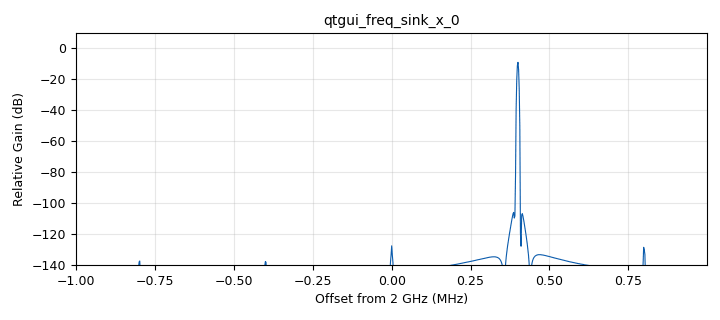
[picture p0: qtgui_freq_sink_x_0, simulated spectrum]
options:
  parameters:
    author: Susana
    generate_options: qt_gui
    id: transmite_tono
    output_language: python
    title: transmite_tono
  states: {}

blocks:
- name: RF_Gain
  id: variable_qtgui_range
  parameters:
    gui_hint: 1,0,1,1
    label: Ganancia RF (dB)
    orient: Qt.Horizontal
    start: '0'
    step: '5'
    stop: '90'
    value: '50'
  states: {state: disabled}
- name: atenuation
  id: variable_qtgui_range
  parameters:
    label: atenuation RF (dB)
    orient: Qt.Horizontal
    start: '0'
    step: '5'
    stop: '90'
    value: '0'
  states: {}
- name: nsamples
  id: variable
  parameters:
    value: '40000'
  states: {}
- name: samp_rate
  id: variable
  parameters:
    value: 2e6
  states: {}
- name: tx_freq
  id: variable_qtgui_range
  parameters:
    label: tx_freq
    orient: Qt.Horizontal
    start: 70e6
    step: 1e6
    stop: 6e9
    value: '2000000000'
  states: {}
- name: analog_sig_source_x_0
  id: analog_sig_source_x
  parameters:
    amp: '1'
    freq: 400e3
    offset: '0'
    phase: '0'
    samp_rate: samp_rate
    type: complex
    waveform: analog.GR_COS_WAVE
  states: {}
- name: blocks_complex_to_mag_squared_0_0
  id: blocks_complex_to_mag_squared
  parameters: {}
  states: {}
- name: blocks_head_0
  id: blocks_head
  parameters:
    num_items: '1024'
    type: complex
  states: {state: disabled}
- name: blocks_moving_average_xx_0_0
  id: blocks_moving_average_xx
  parameters:
    length: nsamples
    max_iter: '4000'
    scale: 1/nsamples
    type: float
  states: {}
- name: blocks_nlog10_ff_0
  id: blocks_nlog10_ff
  parameters:
    k: '0'
  states: {}
- name: blocks_nop_0
  id: blocks_nop
  parameters:
    type: complex
  states: {state: disabled}
- name: iio_pluto_sink_0
  id: iio_pluto_sink
  parameters:
    attenuation1: atenuation
    auto_filter: 'True'
    bandwidth: int(samp_rate)
    buffer_size: '32768'
    cyclic: 'False'
    frequency: int(tx_freq)
    samplerate: int(samp_rate)
  states: {}
- name: pad_sink_0
  id: pad_sink
  parameters:
    label: out
    type: complex
  states: {state: disabled}
- name: qtgui_freq_sink_x_0
  id: qtgui_freq_sink_x
  parameters:
    bw: samp_rate
    ctrlpanel: 'True'
    fc: tx_freq
    fftsize: '1024'
    freqhalf: 'False'
    type: complex
    wintype: firdes.WIN_BLACKMAN_hARRIS
  states: {}
- name: qtgui_number_sink_1_1
  id: qtgui_number_sink
  parameters:
    autoscale: 'True'
    graph_type: qtgui.NUM_GRAPH_NONE
    label1: Signal strength
    name: '"TX Signal Strength"'
    type: float
    unit1: dB
  states: {}
- name: uhd_usrp_sink_0
  id: uhd_usrp_sink
  parameters:
    ant0: TX/RX
    bw0: samp_rate
    center_freq0: tx_freq
    dev_args: '""'
    gain0: RF_Gain
    len_tag_name: ''
    norm_gain0: 'False'
    samp_rate: samp_rate
    sync: sync
    type: fc32
  states: {state: disabled}

connections:
- [analog_sig_source_x_0, '0', blocks_complex_to_mag_squared_0_0, '0']
- [analog_sig_source_x_0, '0', iio_pluto_sink_0, '0']
- [analog_sig_source_x_0, '0', qtgui_freq_sink_x_0, '0']
- [analog_sig_source_x_0, '0', uhd_usrp_sink_0, '0']
- [blocks_complex_to_mag_squared_0_0, '0', blocks_moving_average_xx_0_0, '0']
- [blocks_moving_average_xx_0_0, '0', blocks_nlog10_ff_0, '0']
- [blocks_nlog10_ff_0, '0', qtgui_number_sink_1_1, '0']

metadata:
  file_format: 1
